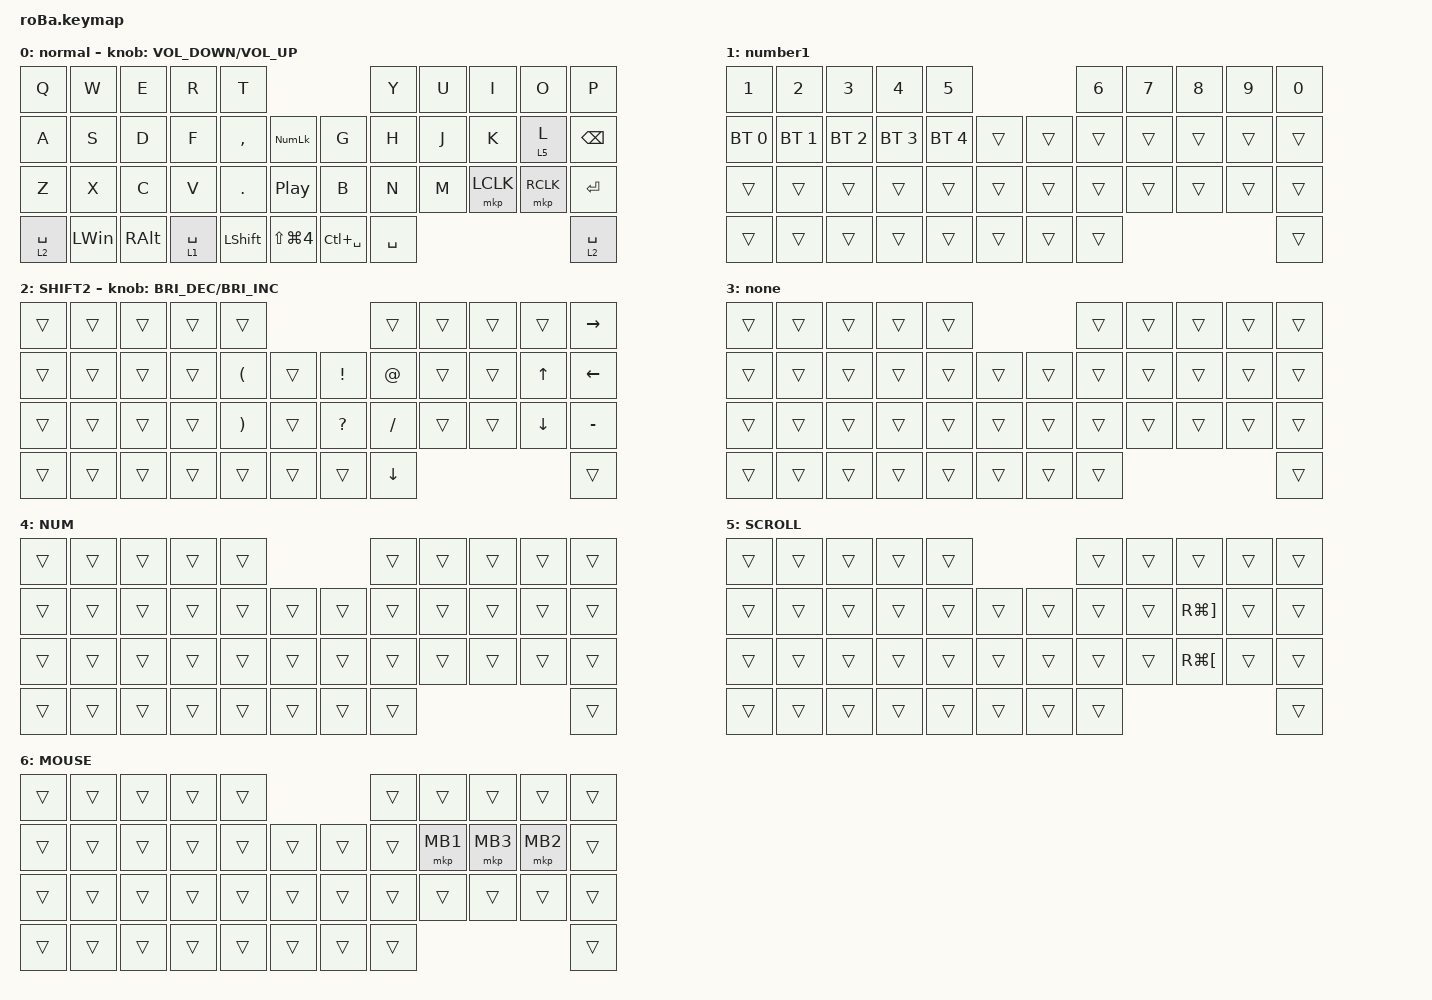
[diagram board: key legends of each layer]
#include <behaviors.dtsi>
#include <dt-bindings/zmk/bt.h>
#include <dt-bindings/zmk/keys.h>
#include <dt-bindings/zmk/pointing.h>

#define MOUSE 4
#define SCROLL 5
#define NUM 6

&mt {
    flavor = "balanced";
    quick-tap-ms = <0>;
};

/ {
    combos {
        compatible = "zmk,combos";

        scroll {
            bindings = <&lt 5 SPACE>;
            key-positions = <31 32>;
        };
    };

    macros {
        to_layer_0: to_layer_0 {
            compatible = "zmk,behavior-macro-one-param";
            #binding-cells = <1>;
            bindings = <&to 6 &macro_param_1to1 &kp MACRO_PLACEHOLDER>;
            label = "TO_LAYER_0";
        };
    };

    behaviors {
        lt_to_layer_0: lt_to_layer_0 {
            compatible = "zmk,behavior-hold-tap";
            label = "LAYER_TAP_TO_0";
            bindings = <&mo>, <&to_layer_0>;

            #binding-cells = <2>;
            tapping-term-ms = <200>;
        };
    };

    keymap {
        compatible = "zmk,keymap";

        normal {
            bindings = <
&kp Q                   &kp W         &kp E          &kp R        &kp T                                                &kp Y      &kp U  &kp I      &kp O      &kp P
&kp A                   &kp S         &kp D          &kp F        &kp COMMA   &kp KP_NUMLOCK            &kp G          &kp H      &kp J  &kp K      &lt 5 L    &kp BACKSPACE
&kp Z                   &kp X         &kp C          &kp V        &kp PERIOD  &kp C_PP                  &kp B          &kp N      &kp M  &mkp LCLK  &mkp RCLK  &kp ENTER
&lt_to_layer_0 2 SPACE  &kp LEFT_WIN  &kp RIGHT_ALT  &lt 1 SPACE  &kp LSHIFT  &kp LS(LG(NUMBER_4))      &kp LC(SPACE)  &kp SPACE                               &lt_to_layer_0 2 SPACE
            >;

            sensor-bindings = <&inc_dec_kp C_VOLUME_DOWN C_VOLUME_UP>;
        };

        number1 {
            bindings = <
&kp NUMBER_1  &kp NUMBER_2  &kp NUMBER_3  &kp NUMBER_4  &kp N5                            &kp NUMBER_6  &kp N7  &kp N8  &kp N9  &kp N0
&bt BT_SEL 0  &bt BT_SEL 1  &bt BT_SEL 2  &bt BT_SEL 3  &bt BT_SEL 4  &trans      &trans  &trans        &trans  &trans  &trans  &trans
&trans        &trans        &trans        &trans        &trans        &trans      &trans  &trans        &trans  &trans  &trans  &trans
&trans        &trans        &trans        &trans        &trans        &trans      &trans  &trans                                &trans
            >;
        };

        SHIFT2 {
            bindings = <
&trans  &trans  &trans  &trans  &trans                                              &trans          &trans  &trans  &trans          &kp RIGHT
&trans  &trans  &trans  &trans  &kp LEFT_PARENTHESIS   &trans      &kp EXCLAMATION  &kp AT_SIGN     &trans  &trans  &kp UP_ARROW    &kp LEFT_ARROW
&trans  &trans  &trans  &trans  &kp RIGHT_PARENTHESIS  &trans      &kp QUESTION     &kp SLASH       &trans  &trans  &kp DOWN_ARROW  &kp MINUS
&trans  &trans  &trans  &trans  &trans                 &trans      &trans           &kp DOWN_ARROW                                  &trans
            >;

            sensor-bindings = <&inc_dec_kp C_BRIGHTNESS_DEC C_BRIGHTNESS_INC>;
        };

        none {
            bindings = <
&trans  &trans  &trans  &trans  &trans                      &trans  &trans  &trans  &trans  &trans
&trans  &trans  &trans  &trans  &trans  &trans      &trans  &trans  &trans  &trans  &trans  &trans
&trans  &trans  &trans  &trans  &trans  &trans      &trans  &trans  &trans  &trans  &trans  &trans
&trans  &trans  &trans  &trans  &trans  &trans      &trans  &trans                          &trans
            >;
        };

        NUM {
            bindings = <
&trans  &trans  &trans  &trans  &trans                      &trans  &trans  &trans  &trans  &trans
&trans  &trans  &trans  &trans  &trans  &trans      &trans  &trans  &trans  &trans  &trans  &trans
&trans  &trans  &trans  &trans  &trans  &trans      &trans  &trans  &trans  &trans  &trans  &trans
&trans  &trans  &trans  &trans  &trans  &trans      &trans  &trans                          &trans
            >;
        };

        SCROLL {
            bindings = <
&trans  &trans  &trans  &trans  &trans                      &trans  &trans  &trans                 &trans  &trans
&trans  &trans  &trans  &trans  &trans  &trans      &trans  &trans  &trans  &kp RG(RIGHT_BRACKET)  &trans  &trans
&trans  &trans  &trans  &trans  &trans  &trans      &trans  &trans  &trans  &kp RG(LEFT_BRACKET)   &trans  &trans
&trans  &trans  &trans  &trans  &trans  &trans      &trans  &trans                                         &trans
            >;
        };

        MOUSE {
            bindings = <
&trans  &trans  &trans  &trans  &trans                      &trans  &trans    &trans    &trans    &trans
&trans  &trans  &trans  &trans  &trans  &trans      &trans  &trans  &mkp MB1  &mkp MB3  &mkp MB2  &trans
&trans  &trans  &trans  &trans  &trans  &trans      &trans  &trans  &trans    &trans    &trans    &trans
&trans  &trans  &trans  &trans  &trans  &trans      &trans  &trans                                &trans
            >;
        };
    };
};
